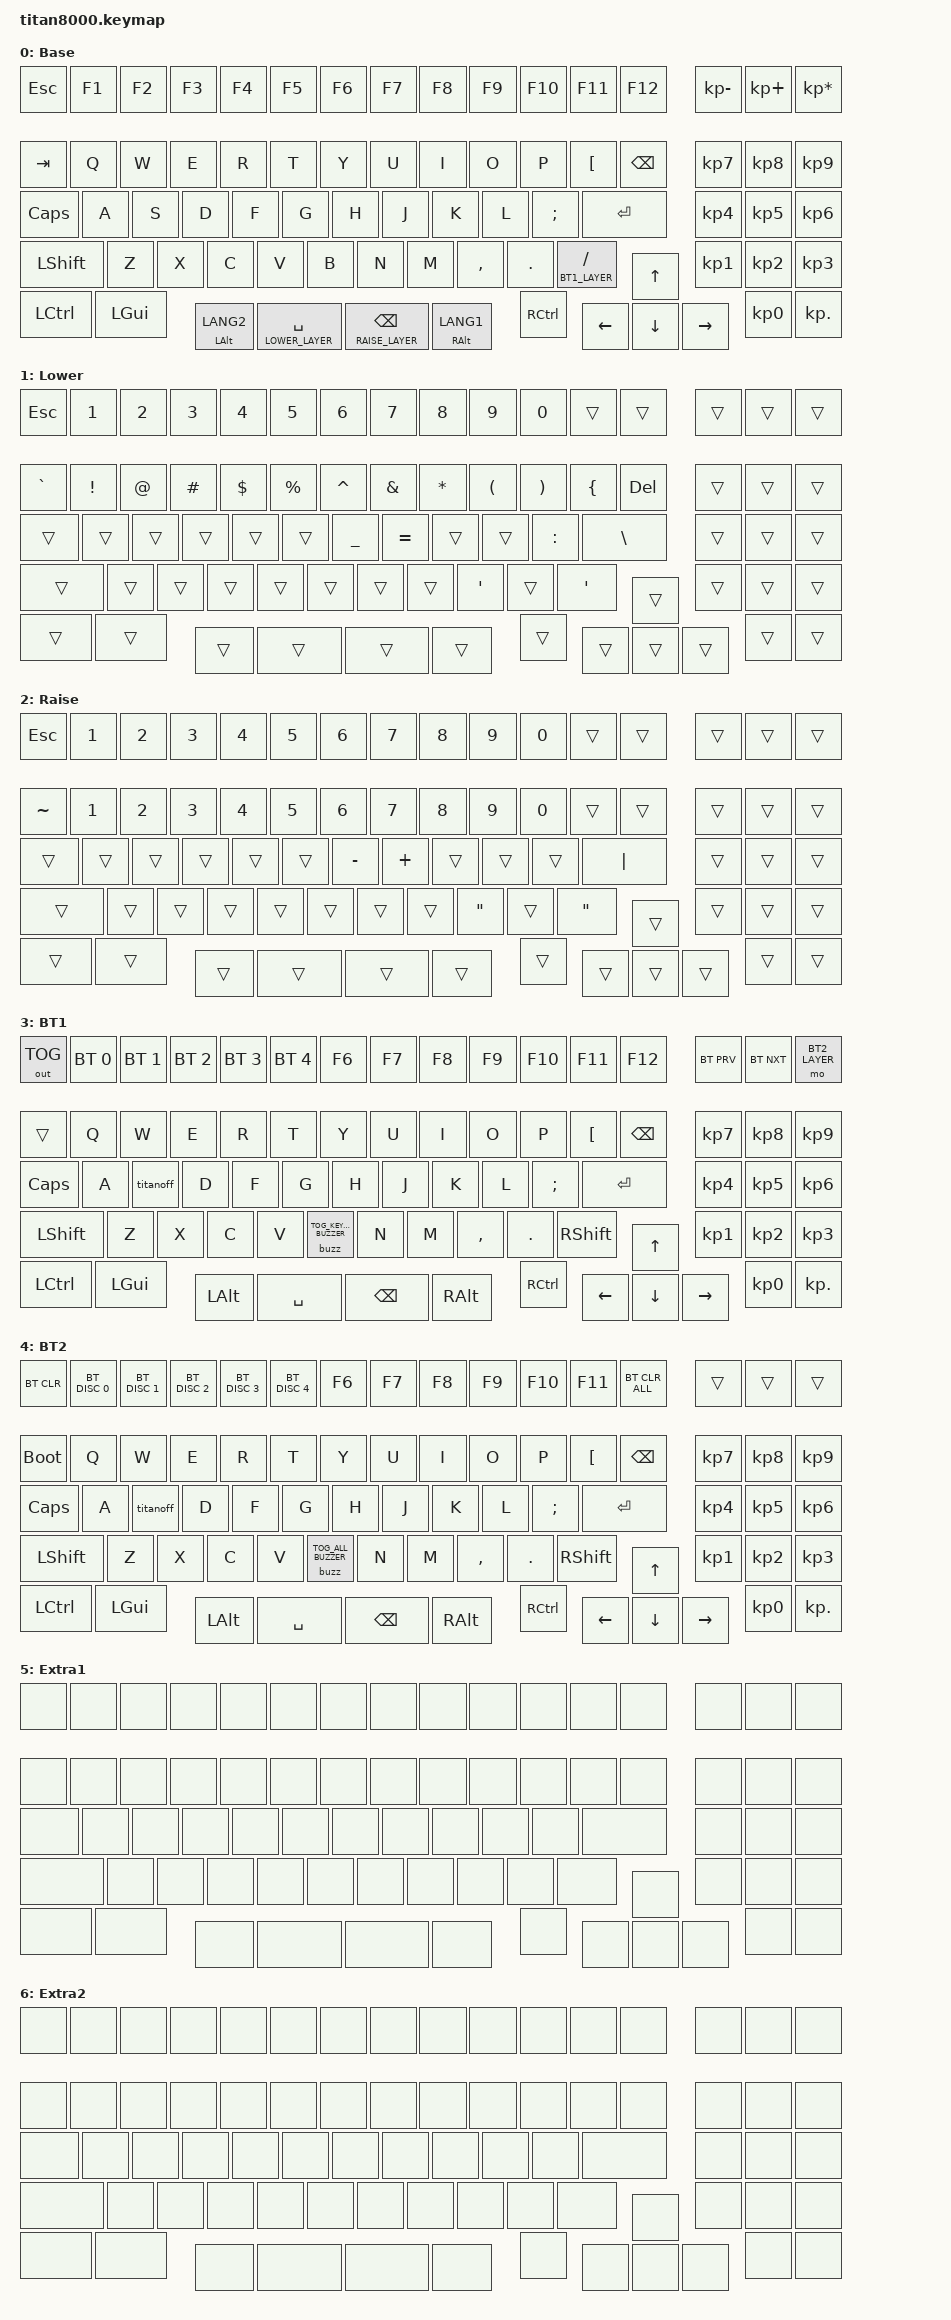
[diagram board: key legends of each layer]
#include <behaviors.dtsi>
#include <dt-bindings/zmk/keys.h>
#include <dt-bindings/zmk/bt.h>
#include <dt-bindings/zmk/outputs.h>
#include "buzzer.dtsi"
#include "behavior_buzzer.h"

/* layer */
#define DEFAULT_LAYER	0
#define LOWER_LAYER		1
#define RAISE_LAYER 	2
#define BT1_LAYER		3
#define BT2_LAYER		4
#define EXTRA1_LAYER	5
#define EXTRA2_LAYER	6

#define L_SPC			&lt LOWER_LAYER SPACE
#define R_SPC			&lt RAISE_LAYER BSPC
#define BT_SLASH		&lt BT1_LAYER FSLH
#define L_ALT			&mt LALT LANG2
#define R_ALT			&mt RALT LANG1
#define MO_BT2			&mo BT2_LAYER
#define BUZ_KEYP_TOG	&buzz TOG_KEYPRESS_BUZZER
#define BUZ_TOG			&buzz TOG_ALL_BUZZER

&lt {
    quick-tap-ms = <200>;
};

&titanoff {
	hold-time-ms = <2000>;
};

/ {
	keymap {
		compatible = "zmk,keymap";
		position-map = <&layout1>;

		DEFAULT_LAYER {
			display-name = "Base";
			bindings = <
				&kp ESC		&kp F1		&kp F2		&kp F3		&kp F4		&kp F5		&kp F6		&kp F7		&kp F8		&kp F9		&kp F10		&kp F11		&kp F12		&kp  KP_MINUS	&kp KP_PLUS	&kp KP_ASTERISK
				&kp TAB		&kp Q		&kp W		&kp E		&kp R		&kp T		&kp Y		&kp U		&kp I		&kp O		&kp P		&kp LBKT	&kp BSPC	&kp KP_N7		&kp KP_N8		&kp KP_N9
				&kp CAPS	&kp A		&kp S		&kp D		&kp F		&kp G		&kp H		&kp J		&kp K		&kp L		&kp SEMI	&kp RET					&kp KP_N4		&kp KP_N5		&kp KP_N6
				&kp LSHIFT	&kp Z		&kp X		&kp C		&kp V		&kp B		&kp N		&kp M		&kp COMMA	&kp DOT		BT_SLASH		&kp UP				&kp KP_N1		&kp KP_N2		&kp KP_N3
				&kp LCTRL	&kp LGUI	L_ALT		L_SPC		R_SPC		R_ALT		&kp RCTRL											&kp LEFT	&kp DOWN	&kp RIGHT				&kp KP_N0		&kp KP_DOT
			>;
		};

		LOWER_LAYER { 
			display-name = "Lower";
			bindings = <
				&kp ESC		&kp N1		&kp N2		&kp N3		&kp N4		&kp N5		&kp N6		&kp N7		&kp N8		&kp N9		&kp N0		&trans		&trans		&trans			&trans			&trans
				&kp GRAVE	&kp EXCL	&kp AT  	&kp HASH	&kp DLLR 	&kp PRCNT	&kp CARET	&kp AMPS	&kp ASTRK	&kp LPAR	&kp RPAR	&kp LBRC	&kp DEL		&trans			&trans			&trans
				&trans		&trans		&trans		&trans		&trans		&trans		&kp UNDER	&kp EQUAL	&trans		&trans		&kp COLON	&kp BSLH				&trans			&trans			&trans
				&trans		&trans		&trans		&trans		&trans		&trans		&trans		&trans		&kp SQT		&trans		&kp SQT			&trans				&trans			&trans			&trans
				&trans		&trans		&trans		&trans		&trans		&trans		&trans												&trans		&trans		&trans					&trans			&trans
			>;
		};

		RAISE_LAYER {
			display-name = "Raise";
			bindings = <
				&kp ESC		&kp N1		&kp N2		&kp N3		&kp N4		&kp N5		&kp N6		&kp N7		&kp N8		&kp N9		&kp N0		&trans		&trans		&trans			&trans			&trans
				&kp TILDE	&kp N1		&kp N2  	&kp N3		&kp N4		&kp	N5		&kp N6		&kp N7		&kp N8		&kp N9		&kp N0		&trans		&trans		&trans			&trans			&trans
				&trans		&trans		&trans		&trans		&trans		&trans		&kp MINUS	&kp PLUS	&trans		&trans		&trans		&kp PIPE				&trans			&trans			&trans
				&trans		&trans		&trans		&trans		&trans		&trans		&trans		&trans		&kp DQT		&trans		&kp DQT			&trans				&trans			&trans			&trans
				&trans		&trans		&trans		&trans		&trans		&trans		&trans												&trans		&trans		&trans					&trans			&trans
			>;
		};

		BT1_LAYER {
			display-name = "BT1";
			bindings = <
				&out OUT_TOG	&bt BT_SEL 0	&bt BT_SEL 1	&bt BT_SEL 2	&bt BT_SEL 3	&bt BT_SEL 4		&kp F6		&kp F7		&kp F8		&kp F9		&kp F10		&kp F11			&kp F12		&bt BT_PRV	 	&bt BT_NXT			&mo BT2_LAYER
				&trans	&kp Q		&kp W		&kp E		&kp R		&kp T		&kp Y		&kp U		&kp I		&kp O		&kp P		&kp LBKT	&kp BSPC	&kp KP_N7			&kp KP_N8		&kp KP_N9
				&kp CAPS	&kp A		&titanoff	&kp D		&kp F		&kp G		&kp H		&kp J		&kp K		&kp L		&kp SEMI	&kp RET					&kp KP_N4		&kp KP_N5		&kp KP_N6
				&kp LSHIFT	&kp Z		&kp X		&kp C		&kp V		BUZ_KEYP_TOG	&kp N		&kp M		&kp COMMA	&kp DOT		&kp RSHIFT		&kp UP				&kp KP_N1		&kp KP_N2		&kp KP_N3
				&kp LCTRL	&kp LGUI	&kp LALT	&kp SPACE	&kp BSPC	&kp RALT	&kp RCTRL											&kp LEFT	&kp DOWN	&kp RIGHT				&kp KP_N0		&kp KP_DOT
			>;		
		};

		BT2_LAYER {
			display-name = "BT2";
			bindings = <
				&bt BT_CLR	&bt BT_DISC 0	&bt BT_DISC 1	&bt BT_DISC 2	&bt BT_DISC 3	&bt BT_DISC 4		&kp F6		&kp F7		&kp F8		&kp F9		&kp F10		&kp F11			&bt BT_CLR_ALL	&trans			&trans			&trans
				&bootloader	&kp Q		&kp W		&kp E		&kp R		&kp T		&kp Y		&kp U		&kp I		&kp O		&kp P		&kp LBKT	&kp BSPC	&kp KP_N7		&kp KP_N8		&kp KP_N9
				&kp CAPS	&kp A		&titanoff	&kp D		&kp F		&kp G		&kp H		&kp J		&kp K		&kp L		&kp SEMI	&kp RET					&kp KP_N4		&kp KP_N5		&kp KP_N6
				&kp LSHIFT	&kp Z		&kp X		&kp C		&kp V		BUZ_TOG		&kp N		&kp M		&kp COMMA	&kp DOT		&kp RSHIFT		&kp UP				&kp KP_N1		&kp KP_N2		&kp KP_N3
				&kp LCTRL	&kp LGUI	&kp LALT	&kp SPACE	&kp BSPC	&kp RALT	&kp RCTRL											&kp LEFT	&kp DOWN	&kp RIGHT				&kp KP_N0		&kp KP_DOT
			>;		
		};

		EXTRA1_LAYER {
			display-name = "Extra1";
			bindings = <
				&none		&none		&none		&none		&none		&none		&none		&none		&none		&none		&none		&none		&none		&none			&none			&none
				&none		&none		&none  		&none		&none		&none		&none		&none		&none		&none		&none		&none		&none		&none			&none			&none
				&none		&none		&none		&none		&none		&none		&none		&none		&none		&none		&none		&none					&none			&none			&none
				&none		&none		&none		&none		&none		&none		&none		&none		&none		&none		&none			&none				&none			&none			&none
				&none		&none		&none		&none		&none		&none		&none												&none		&none		&none					&none			&none
			>;
		};

		EXTRA2_LAYER {
			display-name = "Extra2";
			bindings = <
				&none		&none		&none		&none		&none		&none		&none		&none		&none		&none		&none		&none		&none		&none			&none			&none
				&none		&none		&none  		&none		&none		&none		&none		&none		&none		&none		&none		&none		&none		&none			&none			&none
				&none		&none		&none		&none		&none		&none		&none		&none		&none		&none		&none		&none					&none			&none			&none
				&none		&none		&none		&none		&none		&none		&none		&none		&none		&none		&none			&none				&none			&none			&none
				&none		&none		&none		&none		&none		&none		&none												&none		&none		&none					&none			&none
			>;
		};
	};
};
